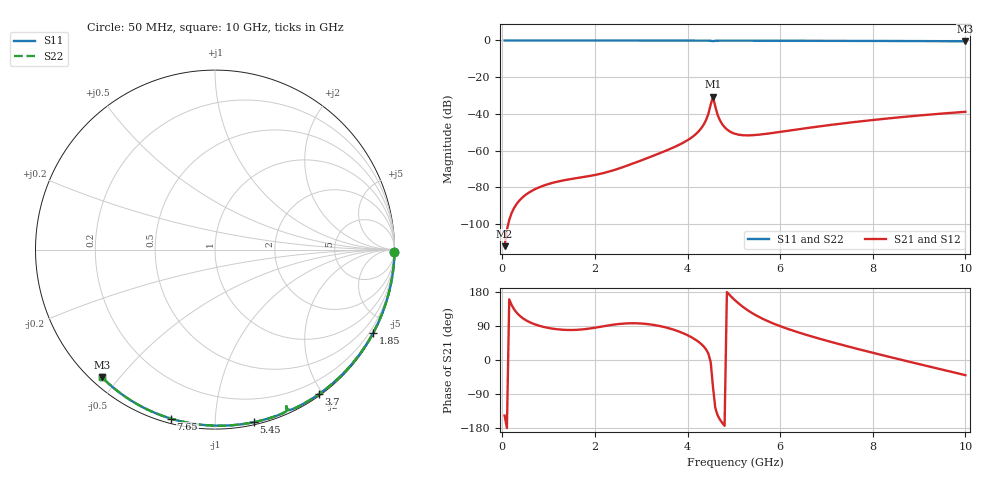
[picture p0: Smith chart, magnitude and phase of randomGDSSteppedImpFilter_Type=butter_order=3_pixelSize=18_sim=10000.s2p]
! freq	dB(S11)	phase(S11)	dB(S12)	phase(S12)
!  dB(S21)	phase(S21)	dB(S22)	phase(S22)
!S-par simulation data
#  GHz  S  DB  R 50
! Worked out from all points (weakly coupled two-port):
!   200 points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, 50 MHz to 10 GHz, reference 50 ohm
!   highest |S21| = -30.65 dB at 4.55 GHz (marker M1); lowest = -112.1 dB at 50 MHz (marker M2)
!   lowest |S11| = -0.4 dB at 10 GHz (marker M3), VSWR 39.07, Z = 1.54 - j22.4 ohm
!   |S11| at or under -10 dB: nowhere
!   |S22| runs from -0.4 to 0.0 dB; largest |S21 - S12| = 0
!   S11 on the Smith chart (normalised r, x): 50 MHz: open; 1.85 GHz: 0.04, -4.05; 3.7 GHz: 0.02, -1.95; 5.45 GHz: 0.02, -1.25; 7.65 GHz: 0.02, -0.77; 10 GHz: 0.03, -0.45
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0.05  -0.00 -0.8  -112.05 -146.5  -112.05 -146.5  -0.00 -0.8
0.8  -0.01 -12.1  -79.94 90.2  -79.94 90.2  -0.01 -12.1
1.15  -0.02 -17.4  -77.14 81.6  -77.14 81.6  -0.02 -17.4
1.75  -0.03 -26.2  -74.41 81.0  -74.41 81.0  -0.03 -26.2
1.85  -0.04 -27.7  -73.99 82.4  -73.99 82.4  -0.04 -27.7
2.5  -0.05 -37.2  -69.92 94.8  -69.92 94.8  -0.05 -37.2
3.4  -0.07 -50.0  -61.43 89.6  -61.43 89.6  -0.07 -50.0
3.7  -0.07 -54.2  -58.25 80.1  -58.25 80.1  -0.07 -54.2
4.05  -0.08 -59.1  -53.53 62.4  -53.53 62.4  -0.08 -59.1
4.3  -0.09 -62.6  -47.67 41.6  -47.67 41.6  -0.09 -62.6
4.4  -0.10 -64.1  -43.34 27.9  -43.34 27.9  -0.10 -64.1
4.45  -0.12 -64.9  -39.98 16.8  -39.98 16.8  -0.12 -64.9
4.55  -0.37 -65.5  -30.65 -71.7  -30.65 -71.7  -0.37 -65.5
4.65  -0.13 -66.5  -40.54 -146.0  -40.54 -146.0  -0.13 -66.5
4.75  -0.11 -68.0  -45.64 -166.0  -45.64 -166.0  -0.11 -68.0
4.9  -0.11 -70.1  -49.37 172.7  -49.37 172.7  -0.11 -70.2
5.05  -0.11 -72.2  -50.97 155.0  -50.97 155.0  -0.11 -72.2
5.45  -0.13 -77.4  -51.53 119.9  -51.53 119.9  -0.13 -77.4
6.7  -0.18 -93.1  -47.30 61.4  -47.30 61.4  -0.18 -93.1
7.65  -0.24 -104.6  -44.31 29.9  -44.31 29.9  -0.24 -104.6
8.35  -0.29 -112.8  -42.42 8.5  -42.42 8.5  -0.29 -112.8
10  -0.44 -131.6  -38.86 -40.0  -38.86 -40.0  -0.44 -131.6
